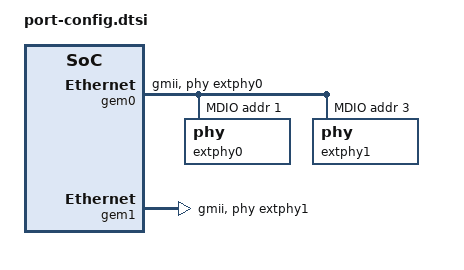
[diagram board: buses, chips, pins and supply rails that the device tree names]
// SPDX-License-Identifier: MIT
// Copyright (C) 2025-2026, Opsero Electronic Design Inc.  All rights reserved.

/*
 * Ethernet FMC Max PS GEM port config: ports-01xx.
 *
 * Per-port external-PHY wiring (MAC address, phy-handle, MDIO bus, phy-mode)
 * layered on the SDT-generated Linux device tree. Selected per target by
 * Yocto/scripts/configure-build.sh from the target's lane-derived port config.
 */

/*
 * Opsero Electronic Design Inc.
 *
 * Port config for designs using ports 0 and 1 of the Ethernet FMC Max,
 * each driven by a PS GEM through EMIO GMII and a PL PCS/PMA (SGMII).
 * Used by the Versal targets: the Versal PS has only two GEMs, so ports
 * 2 and 3 of the Ethernet FMC Max are unused (PHYs held in reset).
 *
 * All four DP83867 PHYs of the Ethernet FMC Max share a single MDIO bus
 * which is mastered by GEM0 in these designs. The PHY of port 1 is
 * cross-referenced by gem1 via phy-handle.
 *
 * The PL PCS/PMA cores are NOT described here: this kernel's macb driver
 * has no external-PCS support. They sit on GEM0's MDIO bus at address
 * 8+port and power up ISOLATED (control reg 0, bit 10), which cuts the GMII
 * datapath until cleared. The pcs-unisolate boot service clears that bit so
 * traffic flows. Once the kernel gains an "xlnx,pcs" PCS driver, describe the
 * cores here (pcs-handle) and drop that service. See docs/source/advanced.md.
 */

&gem0 {
    local-mac-address = [00 0a 35 00 01 22];
    phy-handle = <&extphy0>;
    phy-mode = "gmii";
    status = "okay";
    xlnx,has-mdio = <0x1>;
    ps_ethernet_0_mdio: mdio {
        #address-cells = <1>;
        #size-cells = <0>;
        extphy0: phy@1 {
            device_type = "ethernet-phy";
            reg = <1>;
            ti,fifo-depth = <0x1>;
            enet-phy-lane-swap;
        };
        extphy1: phy@3 {
            device_type = "ethernet-phy";
            reg = <3>;
            ti,fifo-depth = <0x1>;
            enet-phy-lane-swap;
        };
    };
};

&gem1 {
    local-mac-address = [00 0a 35 00 01 23];
    phy-handle = <&extphy1>;
    phy-mode = "gmii";
    status = "okay";
};
